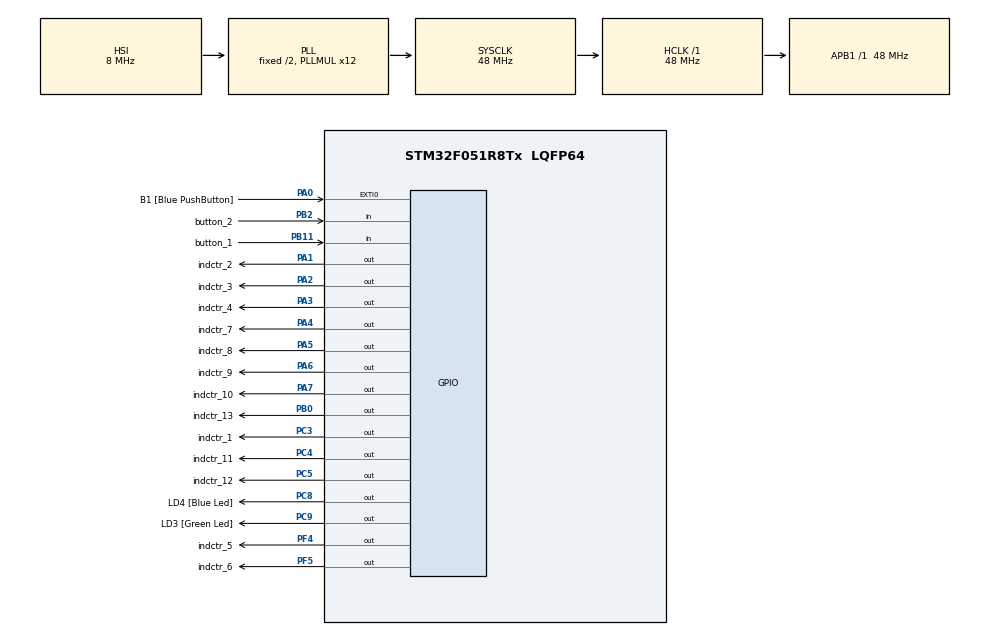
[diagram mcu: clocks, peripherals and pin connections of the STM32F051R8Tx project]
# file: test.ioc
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Mcu.Family=STM32F0
Mcu.Name=STM32F051R8Tx
Mcu.Package=LQFP64
NVIC.TIM1_BRK_UP_TRG_COM_IRQn=true\:0\:0\:false\:false\:true\:true\:true
PA0.GPIO_Label=B1 [Blue PushButton]
PA0.GPIO_ModeDefaultEXTI=GPIO_MODE_EVT_RISING
PA0.Signal=GPXTI0
PA1.GPIO_Label=indctr_2
PA1.Signal=GPIO_Output
PA13.GPIO_Label=SWDIO
PA13.Mode=Serial_Wire
PA13.Signal=SYS_SWDIO
PA14.GPIO_Label=SWCLK
PA14.Mode=Serial_Wire
PA14.Signal=SYS_SWCLK
PA2.GPIO_Label=indctr_3
PA2.Signal=GPIO_Output
PA3.GPIO_Label=indctr_4
PA3.Signal=GPIO_Output
PA4.GPIO_Label=indctr_7
PA4.Signal=GPIO_Output
PA5.GPIO_Label=indctr_8
PA5.Signal=GPIO_Output
PA6.GPIO_Label=indctr_9
PA6.Signal=GPIO_Output
PA7.GPIO_Label=indctr_10
PA7.Signal=GPIO_Output
PB0.GPIO_Label=indctr_13
PB0.Signal=GPIO_Output
PB11.GPIO_Label=button_1
PB11.GPIO_PuPd=GPIO_PULLUP
PB11.Signal=GPIO_Input
PB2.GPIO_Label=button_2
PB2.GPIO_PuPd=GPIO_PULLUP
PB2.Signal=GPIO_Input
PC3.GPIO_Label=indctr_1
PC3.Signal=GPIO_Output
PC4.GPIO_Label=indctr_11
PC4.Signal=GPIO_Output
PC5.GPIO_Label=indctr_12
PC5.Signal=GPIO_Output
PC8.GPIO_Label=LD4 [Blue Led]
PC8.Signal=GPIO_Output
PC9.GPIO_Label=LD3 [Green Led]
PC9.Signal=GPIO_Output
PF4.GPIO_Label=indctr_5
PF4.Signal=GPIO_Output
PF5.GPIO_Label=indctr_6
PF5.Signal=GPIO_Output
ProjectManager.HeapSize=0x200
ProjectManager.StackSize=0x400
ProjectManager.TargetToolchain=MDK-ARM V5.27
RCC.AHBFreq_Value=48000000
RCC.APB1Freq_Value=48000000
RCC.APB1TimFreq_Value=48000000
RCC.HCLKFreq_Value=48000000
RCC.PLLMUL=RCC_PLL_MUL12
RCC.SYSCLKFreq_VALUE=48000000
RCC.SYSCLKSource=RCC_SYSCLKSOURCE_PLLCLK
TIM1.Period=999
TIM1.Prescaler=47999
TIM1.TIM_MasterOutputTrigger=TIM_TRGO_UPDATE
VP_TIM1_VS_ClockSourceINT.Mode=Internal
board=STM32F0DISCOVERY

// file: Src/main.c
/* USER CODE BEGIN Header */
/**
  ******************************************************************************
  * @file           : main.c
  * @brief          : Main program body
  ******************************************************************************
  * @attention
  *
  * <h2><center>&copy; Copyright (c) 2020 STMicroelectronics.
  * All rights reserved.</center></h2>
  *
  * This software component is licensed by ST under BSD 3-Clause license,
  * the "License"; You may not use this file except in compliance with the
  * License. You may obtain a copy of the License at:
  *                        opensource.org/licenses/BSD-3-Clause
  *
  ******************************************************************************
  */
/* USER CODE END Header */

#include "main.h"
#include "tim.h"
#include "gpio.h"

/* USER CODE BEGIN Includes */
#include "indicator.h"
#include "segments_indicator.h"
#include <stdbool.h>
/* USER CODE END Includes */

/* USER CODE BEGIN PD */
#define NUM_ON(i)		(digitals_on[i]());
#define NUM_OFF(i)	(digitals_off[i]());
#define CAT_ON(i)		(digital_cat_on[i]());
#define CAT_OFF(i)		(digital_cat_off[i]());
/* USER CODE END PD */

/* USER CODE BEGIN PM */
uint8_t arr_indctr[4] = {0, 0, 0, 0};
uint8_t arr_sett[4] = {0, 0, 0, 0};
bool blink_points = false;
/* USER CODE END PM */

/* USER CODE BEGIN PV */
void (*digitals_on[10])() 		= {digital_0_on, digital_1_on, digital_2_on, digital_3_on, digital_4_on, digital_5_on, digital_6_on, digital_7_on, digital_8_on, digital_9_on};
void (*digitals_off[10])() 		= {digital_0_off, digital_1_off, digital_2_off, digital_3_off, digital_4_off, digital_5_off, digital_6_off, digital_7_off, digital_8_off, digital_9_off};
void (*digital_cat_on[4])() 	= {digital_seg_1_on, digital_seg_2_on, digital_seg_3_on, digital_seg_4_on};
void (*digital_cat_off[4])() 	= {digital_seg_1_off, digital_seg_2_off, digital_seg_3_off, digital_seg_4_off};
/* USER CODE END PV */

void SystemClock_Config(void);

/* USER CODE BEGIN 0 */
void all_cat_off(void)
{
	uint8_t i;

	for(i = 0; i < 4; i++)
		CAT_OFF(i)
}

void all_segment_in_digit_off(void)
{
	uint8_t i;

	for(i = 0; i < 10; i++)
		NUM_OFF(i)
}

void value_indicator(uint8_t * value)
{
	for(int j = 0; j < 4; j++)
	{
		CAT_ON(j)
		NUM_ON(value[j])
		if( (j == 1 || j == 2) & blink_points)
		{
			SEG_D3_ON
			SEG_D4_ON
		}
		HAL_Delay(2);
		all_segment_in_digit_off();
		all_cat_off();
	}
}

void HAL_TIM1_Callback(void)
{
	static uint8_t minute = 0;

	blink_points = !blink_points;

	minute++;
	if(minute == 60)																	{minute = 0;						arr_sett[0]++;}
	if(arr_sett[0] == 10)															{arr_sett[0] = 0;				arr_sett[1]++;}
	if(arr_sett[1] == 6)															{arr_sett[1] = 0; 			arr_sett[2]++;}
	if(arr_sett[2] == 10)															{arr_sett[2] = 0; 			arr_sett[3]++;}
	if(arr_sett[3] == 2 && arr_sett[2] == 4)					{arr_sett[3] = 0; 			arr_sett[2] = 0;}
}

void timer_start(void)
{
	HAL_TIM_Base_Start(&htim1);
	HAL_TIM_Base_Start_IT(&htim1);
}

void timer_stop(void)
{
	HAL_TIM_Base_Stop(&htim1);
	HAL_TIM_Base_Stop_IT(&htim1);
}
/* USER CODE END 0 */

int main(void)
{
  /* USER CODE BEGIN 1 */
	uint8_t num_cat = 0;
	uint8_t num_digit = 0;
  /* USER CODE END 1 */

  /* MCU Configuration--------------------------------------------------------*/

  /* Reset of all peripherals, Initializes the Flash interface and the Systick. */
  HAL_Init();

  /* Configure the system clock */
  SystemClock_Config();

  /* Initialize all configured peripherals */
  MX_GPIO_Init();
  MX_TIM1_Init();
  /* USER CODE BEGIN 2 */
	timer_start();
  /* USER CODE END 2 */

  /* Infinite loop */
  /* USER CODE BEGIN WHILE */
  while (1)
  {
		if(!HAL_GPIO_ReadPin(button_2_GPIO_Port, button_2_Pin))
		{
			if(!HAL_GPIO_ReadPin(button_2_GPIO_Port, button_2_Pin))
			{
				timer_stop();
				while(HAL_GPIO_ReadPin(button_2_GPIO_Port, button_2_Pin));
				num_cat++;
				if(num_cat == 4)
				{
					num_cat = 0;
					timer_start();
				}
				while(!HAL_GPIO_ReadPin(button_2_GPIO_Port, button_2_Pin));
			}
		}

		if(!HAL_GPIO_ReadPin(button_1_GPIO_Port, button_1_Pin))
		{
			if(!HAL_GPIO_ReadPin(button_1_GPIO_Port, button_1_Pin))
			{
				timer_stop();
				while(HAL_GPIO_ReadPin(button_1_GPIO_Port, button_1_Pin));
				num_digit++;
				if(num_digit == 10)
				{
					num_digit = 0;
				}
				arr_sett[num_cat] = num_digit;
				while(!HAL_GPIO_ReadPin(button_1_GPIO_Port, button_1_Pin));
			}
		}

		arr_indctr[0] = arr_sett[0];
		arr_indctr[1] = arr_sett[1];
		arr_indctr[2] = arr_sett[2];
		arr_indctr[3] = arr_sett[3];
		value_indicator(arr_indctr);
    /* USER CODE END WHILE */

  }
}

void SystemClock_Config(void)
{
  RCC_OscInitTypeDef RCC_OscInitStruct = {0};
  RCC_ClkInitTypeDef RCC_ClkInitStruct = {0};

  /** Initializes the CPU, AHB and APB busses clocks
  */
  RCC_OscInitStruct.OscillatorType = RCC_OSCILLATORTYPE_HSI;
  RCC_OscInitStruct.HSIState = RCC_HSI_ON;
  RCC_OscInitStruct.HSICalibrationValue = RCC_HSICALIBRATION_DEFAULT;
  RCC_OscInitStruct.PLL.PLLState = RCC_PLL_ON;
  RCC_OscInitStruct.PLL.PLLSource = RCC_PLLSOURCE_HSI;
  RCC_OscInitStruct.PLL.PLLMUL = RCC_PLL_MUL12;
  RCC_OscInitStruct.PLL.PREDIV = RCC_PREDIV_DIV1;
  if (HAL_RCC_OscConfig(&RCC_OscInitStruct) != HAL_OK)
  {
    Error_Handler();
  }
  /** Initializes the CPU, AHB and APB busses clocks
  */
  RCC_ClkInitStruct.ClockType = RCC_CLOCKTYPE_HCLK|RCC_CLOCKTYPE_SYSCLK
                              |RCC_CLOCKTYPE_PCLK1;
  RCC_ClkInitStruct.SYSCLKSource = RCC_SYSCLKSOURCE_PLLCLK;
  RCC_ClkInitStruct.AHBCLKDivider = RCC_SYSCLK_DIV1;
  RCC_ClkInitStruct.APB1CLKDivider = RCC_HCLK_DIV1;

  if (HAL_RCC_ClockConfig(&RCC_ClkInitStruct, FLASH_LATENCY_1) != HAL_OK)
  {
    Error_Handler();
  }
}

void Error_Handler(void)
{
}

/************************ (C) COPYRIGHT STMicroelectronics *****END OF FILE****/
